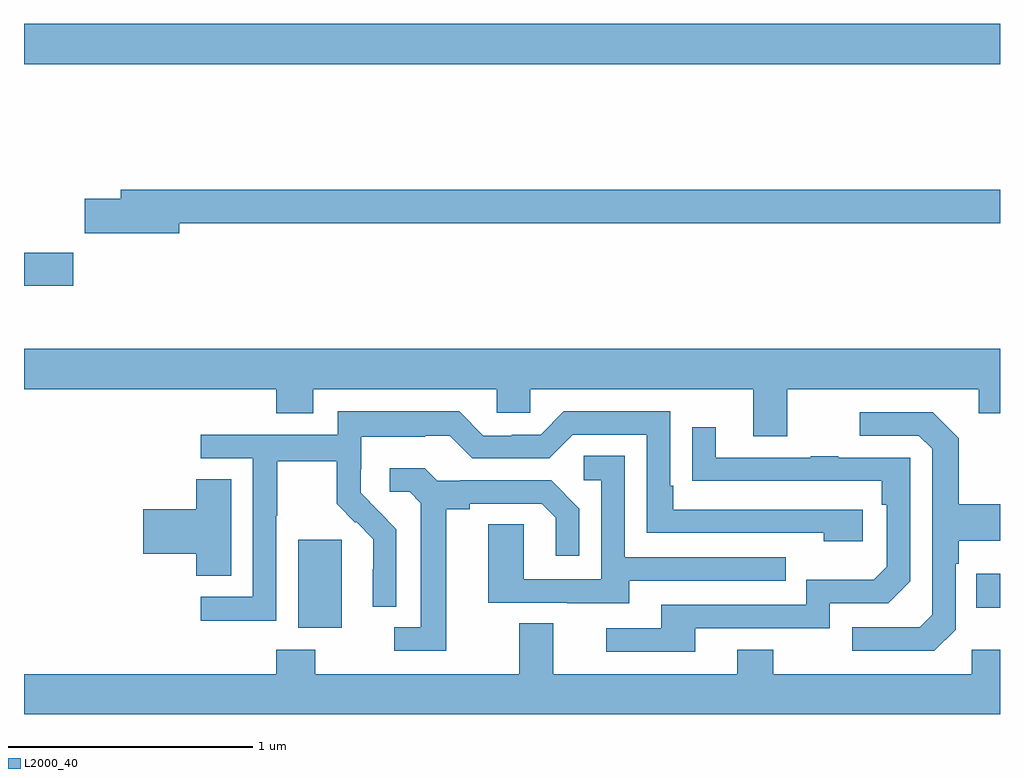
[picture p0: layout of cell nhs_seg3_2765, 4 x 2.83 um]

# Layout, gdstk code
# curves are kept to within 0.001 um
import gdstk
lib = gdstk.Library(unit=1e-6, precision=1e-09)
def R(c, l, rs):  # rectangles x0, y0, x1, y1
    for r in rs: c.add(gdstk.rectangle(r[:2], r[2:], *l))
def P(c, l, *ps):  # polygons
    for p in ps: c.add(gdstk.Polygon(p, *l))
L2000_40 = (2000, 40)

nhs_seg3_2765 = lib.new_cell('nhs_seg3_2765')
R(nhs_seg3_2765, L2000_40, [(254.123,745.226,254.302,745.587), (256.903,745.307,257,745.447), (253,746.627,253.201,746.762), (253,747.536,257,747.7)])
P(nhs_seg3_2765, L2000_40, [(253.636,746.884),(257,746.884),(257,747.02),(253.397,747.02),(253.397,746.984),(253.248,746.984),(253.248,746.842),(253.636,746.842)],
  [(256.129,746.204),(256.913,746.204),(256.913,746.105),(257,746.105),(257,746.368),(253,746.368),(253,746.204),(254.033,746.204),(254.033,746.105),(254.185,746.105),(254.185,746.204),(254.937,746.204),(254.937,746.106),(255.075,746.106),(255.075,746.204),(255.989,746.204),(255.989,746.01),(256.129,746.01)],
  [(254.034,745.684),(254.037,745.684),(254.037,745.908),(254.281,745.908),(254.281,745.733),(254.358,745.656),(254.361,745.659),(254.432,745.589),(254.432,745.466),(254.43,745.466),(254.43,745.312),(254.526,745.312),(254.526,745.63),(254.38,745.778),(254.38,745.875),(254.382,745.875),(254.382,746.009),(254.645,746.009),(254.645,746.013),(254.745,746.013),(254.838,745.92),(255.153,745.92),(255.249,746.016),(255.552,746.016),(255.552,745.614),(256.277,745.614),(256.277,745.58),(256.438,745.58),(256.438,745.71),(255.661,745.71),(255.661,745.807),(255.648,745.807),(255.648,746.112),(255.213,746.112),(255.117,746.016),(254.999,746.016),(254.999,746.013),(254.883,746.013),(254.783,746.113),(254.286,746.113),(254.286,746.016),(253.725,746.016),(253.725,745.92),(253.938,745.92),(253.938,745.353),(253.725,745.353),(253.725,745.255),(254.034,745.255)],
  [(256.818,745.218),(256.818,745.487),(256.831,745.487),(256.831,745.583),(257,745.583),(257,745.731),(256.831,745.731),(256.831,746.003),(256.725,746.109),(256.425,746.109),(256.425,746.013),(256.668,746.013),(256.722,745.959),(256.722,745.278),(256.671,745.227),(256.395,745.227),(256.395,745.131),(256.731,745.131)],
  [(255.751,745.224),(256.302,745.224),(256.302,745.326),(256.542,745.326),(256.632,745.416),(256.632,745.923),(256.337,745.923),(256.337,745.928),(256.225,745.928),(256.225,745.923),(255.835,745.923),(255.835,746.047),(255.739,746.047),(255.739,745.828),(256.516,745.827),(256.516,745.73),(256.536,745.73),(256.536,745.476),(256.483,745.423),(256.206,745.423),(256.206,745.32),(255.611,745.32),(255.611,745.224),(255.387,745.224),(255.387,745.128),(255.751,745.128)],
  [(255.481,745.419),(256.121,745.419),(256.121,745.515),(255.462,745.515),(255.462,745.931),(255.294,745.931),(255.294,745.83),(255.366,745.83),(255.366,745.425),(255.048,745.425),(255.048,745.649),(254.903,745.649),(254.903,745.329),(255.227,745.329),(255.227,745.325),(255.481,745.325)],
  [(254.731,745.712),(254.827,745.712),(254.827,745.734),(255.122,745.734),(255.179,745.677),(255.179,745.521),(255.276,745.521),(255.276,745.714),(255.16,745.83),(254.788,745.83),(254.788,745.827),(254.694,745.827),(254.642,745.879),(254.499,745.879),(254.499,745.782),(254.58,745.782),(254.627,745.735),(254.627,745.227),(254.517,745.227),(254.517,745.131),(254.731,745.131)],
  [(253.849,745.835),(253.706,745.835),(253.706,745.712),(253.488,745.712),(253.488,745.529),(253.706,745.529),(253.706,745.438),(253.849,745.438)],
  [(257,745.135),(256.884,745.135),(256.884,745.036),(256.071,745.036),(256.071,745.135),(255.923,745.135),(255.923,745.036),(255.169,745.036),(255.169,745.244),(255.029,745.244),(255.029,745.036),(254.193,745.036),(254.193,745.135),(254.033,745.135),(254.033,745.036),(253,745.036),(253,744.872),(257,744.872)])

lib.write_gds('nhs_seg3_2765.gds')
